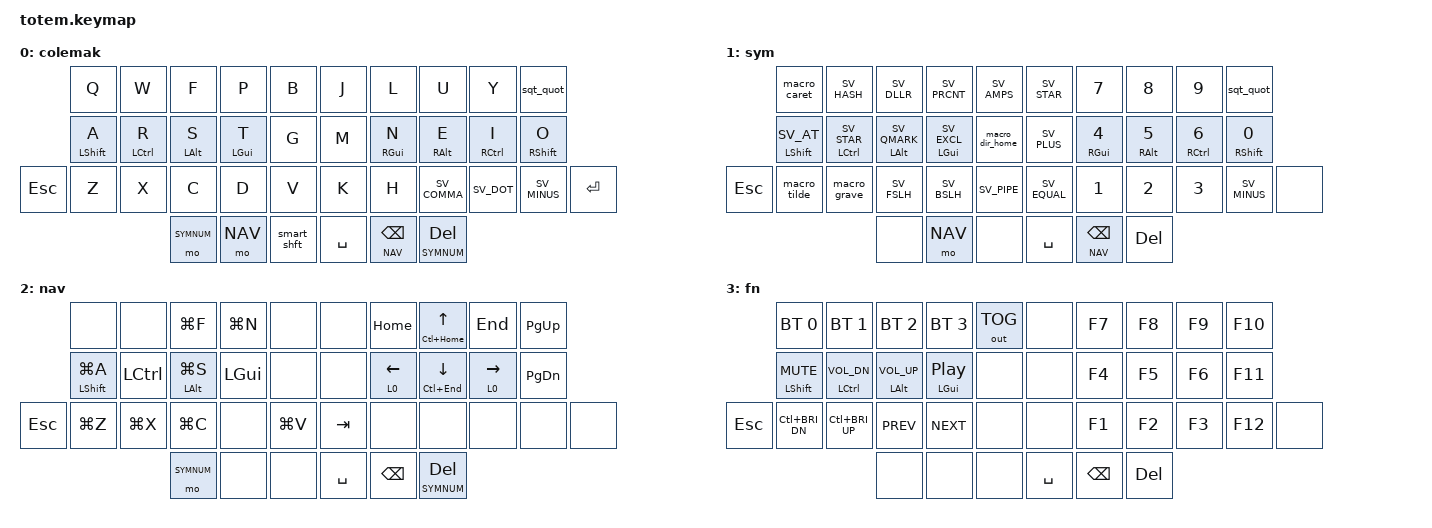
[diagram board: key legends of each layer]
#include <behaviors.dtsi>
#include <dt-bindings/zmk/keys.h>
#include <dt-bindings/zmk/bt.h>
//#include <dt-bindings/zmk/ext_power.h>
#include <dt-bindings/zmk/outputs.h>

#include "zmk-helpers/helper.h"
#include "zmk-helpers/key-labels/totem.h"

#ifndef KEYMAP_DRAWER
#include "keys_sv.h"
#endif

/*
#define HOST_OS 2  // set to 2 for macOS/Windows-Alt-Codes, default is 0 (Windows)
#include "./siguro_se.dtsi"
*/

#define COLEMAK 0
#define SYMNUM 1
#define NAV 2
#define FN 3

#define PREV LG(LS(LBKT))
#define NEXT LG(LS(RBKT))

#define M_FIND LG(F)
#define M_UNDO LG(Z)
#define M_COPY LG(C)
#define M_CUT LG(X)
#define M_PASTE LG(V)
#define M_ALL LG(A)
#define M_SAVE LG(S)
#define M_NEW LG(N)

#define ZOOM_IN  LG(PLUS)
#define ZOOM_OUT LG(MINUS)
#define ZOOM_RES LG(N0)

#define BRI_UP LC(C_BRI_UP)
#define BRI_DN LC(C_BRI_DN)

#define MEH LCTRL(LALT(LSHFT))

#define CANCEL  &kp K_CANCEL  // Cancel caps-word & auto-layers.

/* Combos */
#define COMBO_TERM_FAST 20
#define COMBO_TERM_SLOW 70

#define COMBO_IDLE_FAST 200
#define COMBO_IDLE_SLOW 50

// make homerow combos tap-only (so HRMs can be chorded instantaneously)
//#define HRC_TAB    &hml         LA(LCTRL) TAB
//#define HRC_REPEAT &hml_repeat  LS(LCTRL) 0

/*                                      38 KEY MATRIX / LAYOUT MAPPING
    ╭────────────────────┬────────────────────╮        ╭──────────────────────┬─────────────────────╮
    │  0   1   2   3   4 │  5   6   7   8   9 │        │  LT4 LT3 LT2 LT1 LT0 │ RT0 RT1 RT2 RT3 RT4 │
 ╭──╯ 10  11  12  13  14 │ 15  16  17  18  19 ╰───╮ ╭──╯  LM4 LM3 LM2 LM1 LM0 │ RM0 RM1 RM2 RM3 RM4 ╰───╮
 │ 20 21  22  23  24  25 │ 26  27  28  29  30  31 │ │ LB5 LB4 LB3 LB2 LB1 LB0 │ RB0 RB1 RB2 RB3 RB4 RB5 │
 ╰──────────╮ 32  33  34 │ 35  36  37 ╭───────────╯ ╰──────────╮  LH2 LH1 LH0 │ RH0 RH1 RH2 ╭───────────╯
            ╰────────────┴────────────╯                        ╰──────────────┴─────────────╯
*/

//ZMK_COMBO(combo_FSLH,    &kp SV_FSLH,     LT4 LM4, COLEMAK, COMBO_TERM_SLOW, COMBO_IDLE_FAST)  // /
ZMK_COMBO(combo_SV_LT,   &kp SV_LT,       LT3 LM3, COLEMAK, COMBO_TERM_SLOW, COMBO_IDLE_FAST)  // <
ZMK_COMBO(combo_SV_LBKT, &kp SV_LBKT,     LT2 LM2, COLEMAK, COMBO_TERM_SLOW, COMBO_IDLE_FAST)  // [
ZMK_COMBO(combo_SV_LPAR, &kp SV_LPAR,     LT1 LM1, COLEMAK, COMBO_TERM_SLOW, COMBO_IDLE_FAST)  // (
ZMK_COMBO(combo_SV_LBRC, &kp SV_LBRC,     LT0 LM0, COLEMAK, COMBO_TERM_SLOW, COMBO_IDLE_FAST)  // {

ZMK_COMBO(combo_SV_RBRC, &kp SV_RBRC,     RT0 RM0, COLEMAK, COMBO_TERM_SLOW, COMBO_IDLE_FAST)  // }
ZMK_COMBO(combo_SV_RPAR, &kp SV_RPAR,     RT1 RM1, COLEMAK, COMBO_TERM_SLOW, COMBO_IDLE_FAST)  // )
ZMK_COMBO(combo_SV_RBKT, &kp SV_RBKT,     RT2 RM2, COLEMAK, COMBO_TERM_SLOW, COMBO_IDLE_FAST)  // ]
ZMK_COMBO(combo_SV_GT,   &kp SV_GT,       RT3 RM3, COLEMAK, COMBO_TERM_SLOW, COMBO_IDLE_FAST)  // >
//ZMK_COMBO(combo_BSLH,    &kp SV_BSLH,     RT4 RM4, COLEMAK, COMBO_TERM_SLOW, COMBO_IDLE_FAST)  // \

//ZMK_COMBO(combo_pipe,    &kp SV_PIPE,     LM4 LB4, COLEMAK, COMBO_TERM_SLOW, COMBO_IDLE_FAST)  // |
//ZMK_COMBO(combo_EXCL,    &kp SV_EXCL,     LM3 LB3, COLEMAK, COMBO_TERM_SLOW, COMBO_IDLE_FAST)  // !
//ZMK_COMBO(combo_QMARK,   &kp SV_QMARK,    LM2 LB2, COLEMAK, COMBO_TERM_SLOW, COMBO_IDLE_FAST)  // ?
//ZMK_COMBO(combo_EQUAL,   &kp SV_EQUAL,    LM1 LB1, COLEMAK, COMBO_TERM_SLOW, COMBO_IDLE_FAST)  // =
//ZMK_COMBO(combo_PLUS,    &kp SV_PLUS,     LM0 LB0, COLEMAK, COMBO_TERM_SLOW, COMBO_IDLE_FAST)  // +

ZMK_COMBO(combo_oe,      &kp SV_O_UMLAUT, RM1 RB1, COLEMAK, COMBO_TERM_SLOW, COMBO_IDLE_SLOW)  // Ö
ZMK_COMBO(combo_ao,      &kp SV_A_RING,   RM2 RB2, COLEMAK, COMBO_TERM_SLOW, COMBO_IDLE_SLOW)  // Å
ZMK_COMBO(combo_ae,      &kp SV_A_UMLAUT, RM3 RB3, COLEMAK, COMBO_TERM_SLOW, COMBO_IDLE_SLOW)  // Ä

ZMK_COMBO(combo_BT_CLR,  &bt BT_CLR,      LT2 LT1, FN, COMBO_TERM_FAST, COMBO_IDLE_FAST)

/* Global settings */
#define QUICK_TAP_MS 175

&sk {  // sticky-key config
  release-after-ms = <900>;  // release after 0.9s
  quick-release;             // no double capitalization when rolling keys
};

&sl {  // sticky-layer config
  ignore-modifiers;          // allow chording sticky mods & layers
};

&lt {  // layer-tap config
  flavor = "balanced";
  tapping-term-ms = <280>;
  quick-tap-ms = <QUICK_TAP_MS>;
};

// use require-prior-idle-ms for combos
#undef COMBO_HOOK
#define COMBO_HOOK require-prior-idle-ms = <150>;

/* Homerow mods */
#define KEYS_L LT0 LT1 LT2 LT3 LT4 LM0 LM1 LM2 LM3 LM4 LB0 LB1 LB2 LB3 LB4  // left hand
#define KEYS_R RT0 RT1 RT2 RT3 RT4 RM0 RM1 RM2 RM3 RM4 RB0 RB1 RB2 RB3 RB4  // right hand
#define THUMBS LH2 LH1 LH0 RH0 RH1 RH2                                      // thumbs

#define MAKE_HRM(NAME, HOLD, TAP, TRIGGER_POS) \
    ZMK_HOLD_TAP(NAME, \
        flavor = "balanced"; \
        tapping-term-ms = <280>; \
        quick-tap-ms = <QUICK_TAP_MS>; \
        require-prior-idle-ms = <150>; \
        bindings = <HOLD>, <TAP>; \
        hold-trigger-key-positions = <TRIGGER_POS>; \
        hold-trigger-on-release; \
    )

MAKE_HRM(hml, &kp, &kp, KEYS_R THUMBS)  // left-hand HRMs
MAKE_HRM(hmr, &kp, &kp, KEYS_L THUMBS)  // right-hand HRMs

/* Nav cluster */

// long-tap action on hold, short-tap action on all interrupts
#define MT_CORE \
    flavor = "tap-preferred"; \
    tapping-term-ms = <220>; \
    quick-tap-ms = <220>; \
    hold-trigger-key-positions = <0>;

&mt { MT_CORE };
ZMK_HOLD_TAP(mt_home, bindings = <&masked_home>, <&kp>; MT_CORE)
ZMK_HOLD_TAP(mt_end, bindings = <&masked_end>, <&kp>; MT_CORE)

#define NAV_LEFT  &mt_home 0   LEFT    // tap: left  | long-tap: beginning of line
#define NAV_RIGHT &mt_end 0    RIGHT   // tap: right | long-tap: end       of line
#define NAV_UP    &mt LC(HOME) UP      // tap: up    | long-tap: beginning of document
#define NAV_DOWN  &mt LC(END)  DOWN    // tap: down  | long-tap: end       of document
#define NAV_BSPC  &mt LC(BSPC) BSPC    // tap: bspc  | long-tap: delete word backward
#define NAV_DEL   &mt LC(DEL)  DEL     // tap: del   | long-tap: delete word forward
#define SPACE_TAB &mt TAB SPACE        // tap: del   | long-tap: delete word forward


// mask CTRL when holding left/right to avoid accidental jumps to beginning/end of document
#define MASK_MODS(NAME, MODS, BINDING) \
    ZMK_MOD_MORPH(NAME, \
        bindings = <BINDING>, <BINDING>; \
        mods = <MODS>; \
    )
MASK_MODS(masked_home, (MOD_LCTL), &kp HOME)
MASK_MODS(masked_end,  (MOD_LCTL), &kp END)

/* Custom behaviors */
// reuse basic mod-morph scheme

#define SIMPLE_MORPH(NAME, MOD, BINDING1, BINDING2) \
    ZMK_MOD_MORPH(NAME, \
        mods = <(MOD_L ## MOD|MOD_R ## MOD)>; \
        bindings = <BINDING1>, <BINDING2>; \
    )

// Tap: ' Shift + tap: "
SIMPLE_MORPH(sqt_quot, SFT, &kp SV_SQT, &kp SV_DQT)

// Tap: ! Shift + tap: ?
SIMPLE_MORPH(excl_qmark, SFT, &kp SV_EXCL, &kp SV_QMARK)

// tap: sticky-shift | shift + tap/ double-tap: caps-word | hold: shift
ZMK_MOD_MORPH(smart_shft,
    bindings = <&sk LSHFT>, <&caps_word>;
    mods = <(MOD_LSFT)>;
)
&caps_word {  // mods deactivate caps-word, requires PR #1451
    /delete-property/ ignore-modifiers;
};

ZMK_MACRO(macro_tilde,
    wait-ms = <30>;
    tap-ms = <40>;
    bindings = <&kp SV_TILDE &kp SPACE>;
)

ZMK_MACRO(macro_grave,
    wait-ms = <30>;
    tap-ms = <40>;
    bindings = <&kp SV_GRAVE &kp SPACE>;
)

ZMK_MACRO(macro_caret,
    wait-ms = <30>;
    tap-ms = <40>;
    bindings = <&kp SV_CARET &kp SPACE>;
)

ZMK_MACRO(macro_dir_up,
    wait-ms = <30>;
    tap-ms = <40>;
    bindings = <&kp SV_DOT &kp SV_DOT &kp SV_FSLH>;
)

ZMK_MACRO(macro_dir_home,
    wait-ms = <30>;
    tap-ms = <40>;
    bindings = <&kp SV_TILDE &kp SV_FSLH>;
)

/* Unicode */
ZMK_UNICODE_SINGLE(currsign, N0, N0, A, N4)

ZMK_CONDITIONAL_LAYER(fn_layer, SYMNUM NAV, FN)
/* Keymap */
/*                                      38 KEY MATRIX / LAYOUT MAPPING
    ╭────────────────────┬────────────────────╮        ╭──────────────────────┬─────────────────────╮
    │  0   1   2   3   4 │  5   6   7   8   9 │        │  LT4 LT3 LT2 LT1 LT0 │ RT0 RT1 RT2 RT3 RT4 │
 ╭──╯ 10  11  12  13  14 │ 15  16  17  18  19 ╰───╮ ╭──╯  LM4 LM3 LM2 LM1 LM0 │ RM0 RM1 RM2 RM3 RM4 ╰───╮
 │ 20 21  22  23  24  25 │ 26  27  28  29  30  31 │ │ LB5 LB4 LB3 LB2 LB1 LB0 │ RB0 RB1 RB2 RB3 RB4 RB5 │
 ╰──────────╮ 32  33  34 │ 35  36  37 ╭───────────╯ ╰──────────╮  LH2 LH1 LH0 │ RH0 RH1 RH2 ╭───────────╯
            ╰────────────┴────────────╯                        ╰──────────────┴─────────────╯
*/

ZMK_LAYER(colemak,
//              ╭─────────────┬─────────────┬─────────────┬─────────────┬─────────────╮   ╭─────────────┬─────────────┬─────────────┬─────────────┬─────────────╮
                    &kp Q         &kp W         &kp F         &kp P          &kp B             &kp J        &kp L         &kp U         &kp Y        &sqt_quot
//              ├─────────────┼─────────────┼─────────────┼─────────────┼─────────────┤   ├─────────────┼─────────────┼─────────────┼─────────────┼─────────────┤ 
                  &hml LSHFT A  &hml LCTRL R  &hml LALT S   &hml LGUI T      &kp G             &kp M      &hmr RGUI N    &hmr RALT E  &hmr RCTRL I  &hmr RSHFT O
//╭─────────────├─────────────┼─────────────┼─────────────┼─────────────┼─────────────┤   ├─────────────┼─────────────┼─────────────┼─────────────┼─────────────┼─────────────╮ 
      &kp ESC       &kp Z         &kp X         &kp C         &kp D          &kp V             &kp K         &kp H     &kp SV_COMMA    &kp SV_DOT   &kp SV_MINUS   &kp RET
//╰─────────────┴─────────────┴─────────────┼─────────────┼─────────────┼─────────────┤   ├─────────────┼─────────────┼─────────────┴─────────────┴─────────────┴─────────────╯
                                               &mo SYMNUM     &mo NAV     &smart_shft        &kp SPACE    &lt NAV BSPC &lt SYMNUM DEL
//                                          ╰─────────────┴─────────────┴─────────────╯   ╰─────────────┴─────────────┴─────────────╯  
)

ZMK_LAYER(sym,
//                   ╭──────────────────┬────────────────────┬─────────────────┬────────────────────┬─────────────╮   ╭─────────────┬─────────────┬─────────────┬─────────────┬─────────────╮
                        &macro_caret         &kp SV_HASH         &kp SV_DLLR        &kp SV_PRCNT      &kp SV_AMPS        &kp SV_STAR    &kp N7        &kp N8        &kp N9        &sqt_quot
//                   ├──────────────────┼────────────────────┼─────────────────┼────────────────────┼─────────────┤   ├─────────────┼─────────────┼─────────────┼─────────────┼─────────────┤ 
                       &hml LSHFT SV_AT  &hml LCTRL SV_STAR   &hml LALT SV_QMARK  &hml LGUI SV_EXCL &macro_dir_home      &kp SV_PLUS  &hmr RGUI N4  &hmr RALT N5  &hmr RCTRL N6  &hmr RSHFT N0
//╭──────────────────┴──────────────────┼────────────────────┼─────────────────┼────────────────────┼─────────────┤   ├─────────────┼─────────────┼─────────────┼─────────────┼─────────────┼─────────────╮ 
       &kp ESC          &macro_tilde        &macro_grave          &kp SV_FSLH       &kp SV_BSLH       &kp SV_PIPE       &kp SV_EQUAL    &kp N1        &kp N2        &kp N3      &kp SV_MINUS     &none
//╰──────────────────┴──────────────────┴────────────────────┴─────────────────┼────────────────────┼─────────────┤   ├─────────────┼─────────────┼─────────────┴─────────────┴─────────────┴─────────────╯
                                                                   &none              &mo NAV             &none          &kp SPACE    &lt NAV BSPC    &kp DEL 
//                                                           ╰─────────────────┴────────────────────┴─────────────╯   ╰─────────────┴─────────────┴─────────────╯  
)

ZMK_LAYER(nav,
//              ╭─────────────┬─────────────┬─────────────┬─────────────┬─────────────╮   ╭─────────────┬─────────────┬─────────────┬─────────────┬─────────────╮
                     &none         &none       &kp M_FIND     &kp M_NEW      &none             &none       &kp HOME       NAV_UP       &kp END       &kp PG_UP
//              ├─────────────┼─────────────┼─────────────┼─────────────┼─────────────┤   ├─────────────┼─────────────┼─────────────┼─────────────┼─────────────┤ 
                &hml LSHFT M_ALL &kp LCTRL  &hml LALT M_SAVE  &kp LGUI       &none             &none       NAV_LEFT      NAV_DOWN      NAV_RIGHT     &kp PG_DN
//╭─────────────┼─────────────┼─────────────┼─────────────┼─────────────┼─────────────┤   ├─────────────┼─────────────┼─────────────┼─────────────┼─────────────┼─────────────╮ 
      &kp ESC      &kp M_UNDO    &kp M_CUT    &kp M_COPY       &none      &kp M_PASTE          &kp TAB      &none         &none         &none         &none        &none
//╰─────────────┴─────────────┴─────────────┴─────────────┴─────────────┼─────────────┤   ├─────────────┼─────────────┼─────────────┼─────────────┴─────────────┴─────────────╯
                                               &mo SYMNUM      &none        &none            &kp SPACE      &kp BSPC     &lt SYMNUM DEL  
//                                          ╰─────────────┴─────────────┴─────────────╯   ╰─────────────┴─────────────┴─────────────╯  
)

ZMK_LAYER(fn,
//                     ╭────────────────────┬──────────────────┬───────────────────┬─────────────────┬─────────────╮   ╭─────────────┬─────────────┬─────────────┬──────────────┬───────────────╮
                           &bt BT_SEL 0         &bt BT_SEL 1       &bt BT_SEL 2        &bt BT_SEL 3    &out OUT_TOG         &none        &kp F7        &kp F8        &kp F9         &kp F10
//                     ├────────────────────┼──────────────────┼───────────────────┼─────────────────┼─────────────┤   ├─────────────┼─────────────┼─────────────┼──────────────┼───────────────┤ 
                          &hml LSHFT C_MUTE  &hml LCTRL C_VOL_DN &hml LALT C_VOL_UP   &hml LGUI C_PP      &none             &none        &kp F4        &kp F5        &kp F6         &kp F11
//╭────────────────────┼────────────────────┼──────────────────┼───────────────────┼─────────────────┼─────────────┤   ├─────────────┼─────────────┼─────────────┼──────────────┼───────────────┼───────────────╮ 
           &kp ESC            &kp BRI_DN         &kp BRI_UP         &kp C_PREV          &kp C_NEXT        &none             &none        &kp F1        &kp F2        &kp F3         &kp F12          &none
//╰────────────────────┴────────────────────┴──────────────────┴───────────────────┼─────────────────┼─────────────┤   ├─────────────┼─────────────┼─────────────┼──────────────┴───────────────┴───────────────╯
                                                                      &none               &none           &none           &kp SPACE      &kp BSPC       &kp DEL
//                                                             ╰───────────────────┴─────────────────┴─────────────╯   ╰─────────────┴─────────────┴─────────────╯  
)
